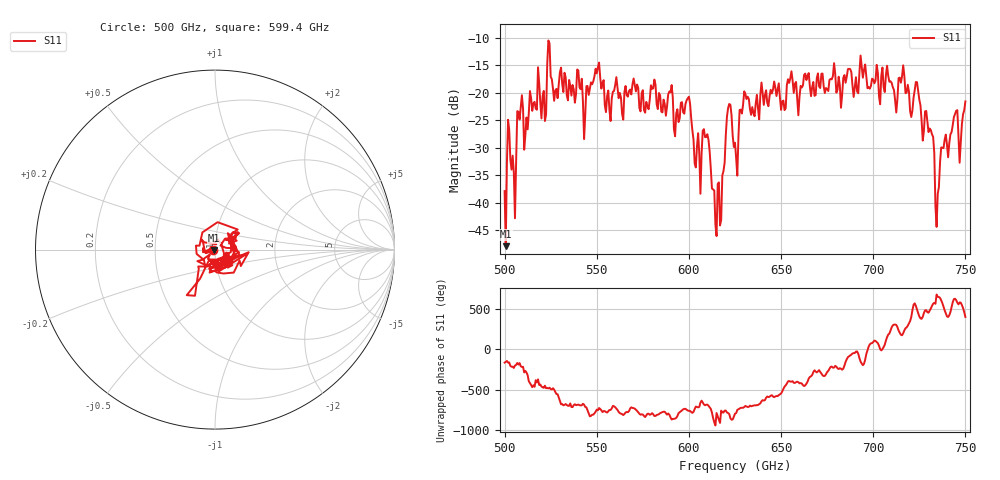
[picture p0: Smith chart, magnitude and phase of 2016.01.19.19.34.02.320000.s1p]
!Created with skrf (http://scikit-rf.org).
# GHz S RI R 50.0
!freq ReS11 ImS11
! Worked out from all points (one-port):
!   401 points, 500 GHz to 750 GHz, reference 50 ohm
!   lowest |S11| = -47.9 dB at 500.6 GHz (marker M1), VSWR 1.01, Z = 49.6 - j0.171 ohm
!   |S11| at or under -10 dB: start of sweep to end of sweep
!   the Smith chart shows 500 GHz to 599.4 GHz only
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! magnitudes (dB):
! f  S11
! 500 GHz  -37.9
! 500.6 GHz  -47.9
! 503.1 GHz  -32.1
! 505 GHz  -34.5
! 508.1 GHz  -24.9
! 521.2 GHz  -19.7
! 524.4 GHz  -11.0
! 527.5 GHz  -19.6
! 531.2 GHz  -18.4
! 562.5 GHz  -20.0
! 580.6 GHz  -19.2
! 593.8 GHz  -23.0
! 599.4 GHz  -21.0
! 605 GHz  -27.4
! 609.4 GHz  -28.1
! 615.6 GHz  -36.6
! 621.9 GHz  -22.0
! 625 GHz  -29.1
! 630.6 GHz  -20.2
! 656.2 GHz  -17.8
! 687.5 GHz  -15.7
! 718.8 GHz  -18.6
! 731.2 GHz  -26.8
! 735 GHz  -38.4
! 738.1 GHz  -30.1
! 744.4 GHz  -23.8
! 747.5 GHz  -29.0
! 750 GHz  -21.6
